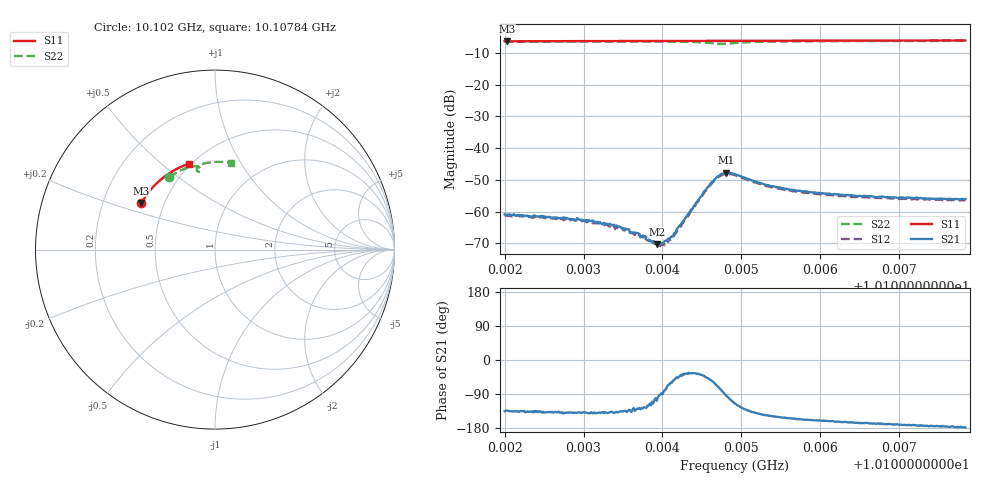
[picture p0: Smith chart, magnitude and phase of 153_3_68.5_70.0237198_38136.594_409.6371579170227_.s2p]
#  HZ  S  RI  R  50.00
! Rohde & Schwarz Vector Network Analyzer
! Rohde-Schwarz,ZNB20-2Port,1311601062101988,3.16
! Created: UTC 3/20/2024, 4:55:22 PM
! freq[Hz]  re:S11  im:S11  re:S21  im:S21  re:S12  im:S12  re:S22  im:S22
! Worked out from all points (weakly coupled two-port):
!   401 points, 10.102 GHz to 10.10784 GHz, reference 50 ohm
!   highest |S21| = -47.76 dB at 10.1048 GHz (marker M1); lowest = -70.3 dB at 10.10393 GHz (marker M2)
!   lowest |S11| = -6.3 dB at 10.10203 GHz (marker M3), VSWR 2.89, Z = 18.6 + j12.6 ohm
!   |S11| at or under -10 dB: nowhere
!   |S22| runs from -7.1 to -6.2 dB; largest |S21 - S12| = 0.00043
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1.0101999e10  -0.4107 0.2584  -0.000638 -0.000639  -0.000558 -0.000656  -0.2548 0.4039
1.0102028e10  -0.4097 0.2599  -0.000615 -0.000651  -0.000553 -0.000674  -0.2532 0.4052
1.0102759e10  -0.3862 0.2976  -0.000609 -0.000531  -0.000512 -0.000544  -0.2124 0.4302
1.0102978e10  -0.3785 0.3085  -0.000569 -0.000489  -0.000483 -0.000512  -0.1995 0.4371
1.0103358e10  -0.3642 0.3267  -0.000447 -0.000425  -0.000432 -0.000437  -0.1762 0.4477
1.0103547e10  -0.3568 0.3355  -0.000384 -0.000354  -0.000347 -0.00038  -0.1639 0.4526
1.0103621e10  -0.3539 0.3388  -0.000306 -0.000334  -0.000275 -0.000367  -0.1592 0.4544
1.0103679e10  -0.3516 0.3416  -0.000285 -0.00036  -0.000236 -0.00035  -0.1553 0.4558
1.0103737e10  -0.3492 0.3442  -0.000246 -0.000325  -0.000216 -0.000349  -0.1513 0.4571
1.010384e10  -0.3449 0.3488  -0.000154 -0.000325  -0.00014 -0.000319  -0.1441 0.4592
1.0103927e10  -0.3415 0.3527  -9.19e-05 -0.00029  -4.31e-05 -0.000325  -0.1377 0.4609
1.0103957e10  -0.3402 0.354  -2.11e-05 -0.000328  9.45e-08 -0.000304  -0.1357 0.4614
1.0104e10  -0.3383 0.356  -3.18e-06 -0.000318  5.34e-05 -0.000293  -0.1323 0.4622
1.0104117e10  -0.3335 0.361  0.000202 -0.000353  0.000213 -0.000303  -0.1231 0.4639
1.0104599e10  -0.312 0.381  0.00165 -0.00206  0.00177 -0.00183  -0.081 0.4496
1.0104716e10  -0.3068 0.3855  0.0011 -0.00351  0.00132 -0.00327  -0.0833 0.4361
1.0104804e10  -0.3028 0.3889  -0.000214 -0.00409  0.000166 -0.00389  -0.0935 0.4338
1.0104921e10  -0.2975 0.3936  -0.00165 -0.00351  -0.00127 -0.00352  -0.1011 0.4445
1.0105344e10  -0.2774 0.4096  -0.00218 -0.00145  -0.00197 -0.00153  -0.0761 0.474
1.01059e10  -0.2496 0.4286  -0.00186 -0.000737  -0.00171 -0.000862  -0.0362 0.4846
1.0106878e10  -0.1977 0.4572  -0.00165 -0.000344  -0.00157 -0.000456  0.0294 0.4889
1.0107843e10  -0.1436 0.479  -0.00158 -5.47e-05  -0.0015 -0.000223  0.0915 0.4836
